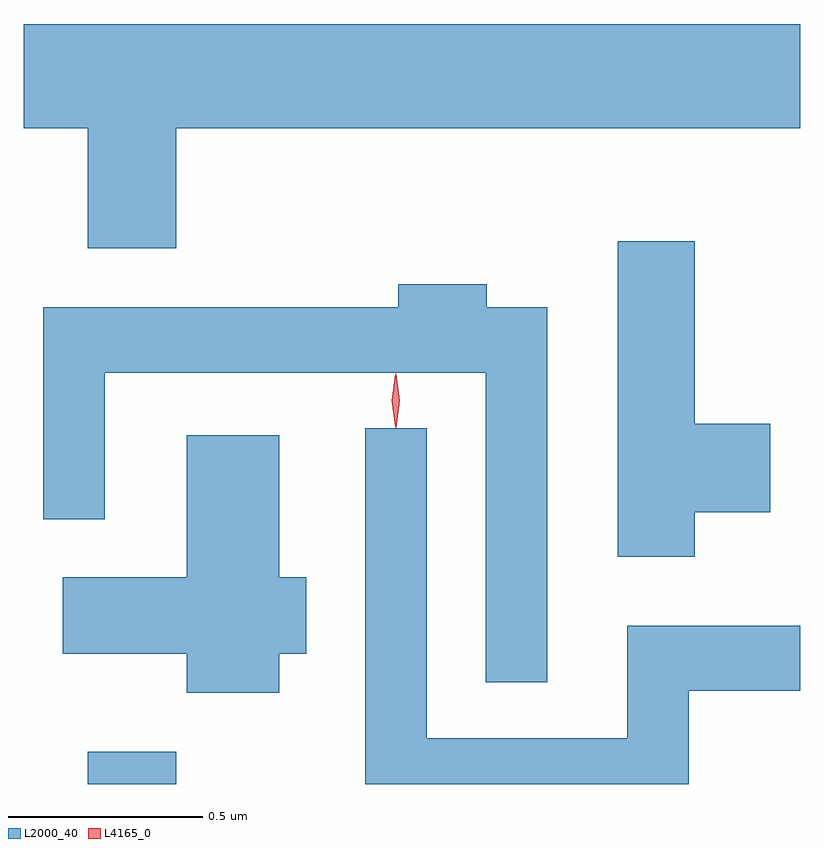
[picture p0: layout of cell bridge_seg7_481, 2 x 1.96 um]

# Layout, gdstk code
import gdstk
lib = gdstk.Library(unit=1e-6, precision=1e-09)
def R(c, l, rs):  # rectangles x0, y0, x1, y1
    for r in rs: c.add(gdstk.rectangle(r[:2], r[2:], *l))
def P(c, l, *ps):  # polygons
    for p in ps: c.add(gdstk.Polygon(p, *l))
L2000_40 = (2000, 40)
L4165_0 = (4165, 0)

bridge_seg7_481 = lib.new_cell('bridge_seg7_481')
R(bridge_seg7_481, L2000_40, [(1069.001,1732.606,1069.229,1732.689)])
P(bridge_seg7_481, L2000_40, [(1069.229,1734.296),(1070.836,1734.296),(1070.836,1734.564),(1068.836,1734.564),(1068.836,1734.296),(1069.001,1734.296),(1069.001,1733.986),(1069.229,1733.986)],
  [(1070.564,1733.306),(1070.759,1733.306),(1070.759,1733.534),(1070.564,1733.534),(1070.564,1734.004),(1070.366,1734.004),(1070.366,1733.191),(1070.564,1733.191)],
  [(1070.184,1733.834),(1070.029,1733.834),(1070.029,1733.894),(1069.801,1733.894),(1069.801,1733.834),(1068.886,1733.834),(1068.886,1733.288),(1069.044,1733.288),(1069.044,1733.666),(1070.026,1733.666),(1070.026,1732.868),(1070.184,1732.868)],
  [(1070.549,1732.846),(1070.836,1732.846),(1070.836,1733.014),(1070.391,1733.014),(1070.391,1732.724),(1069.874,1732.724),(1069.874,1733.523),(1069.716,1733.523),(1069.716,1732.606),(1070.549,1732.606)],
  [(1069.494,1732.941),(1069.564,1732.941),(1069.564,1733.139),(1069.494,1733.139),(1069.494,1733.504),(1069.256,1733.504),(1069.256,1733.139),(1068.936,1733.139),(1068.936,1732.941),(1069.256,1732.941),(1069.256,1732.841),(1069.494,1732.841)])
P(bridge_seg7_481, L4165_0, [(1069.794,1733.527),(1069.793,1733.528),(1069.784,1733.594),(1069.793,1733.66),(1069.794,1733.66),(1069.794,1733.66),(1069.804,1733.594),(1069.794,1733.528)],
  [(1069.794,1733.524),(1069.785,1733.593),(1069.794,1733.662),(1069.795,1733.663),(1069.795,1733.662),(1069.805,1733.593),(1069.795,1733.524),(1069.795,1733.524)])

lib.write_gds('bridge_seg7_481.gds')
